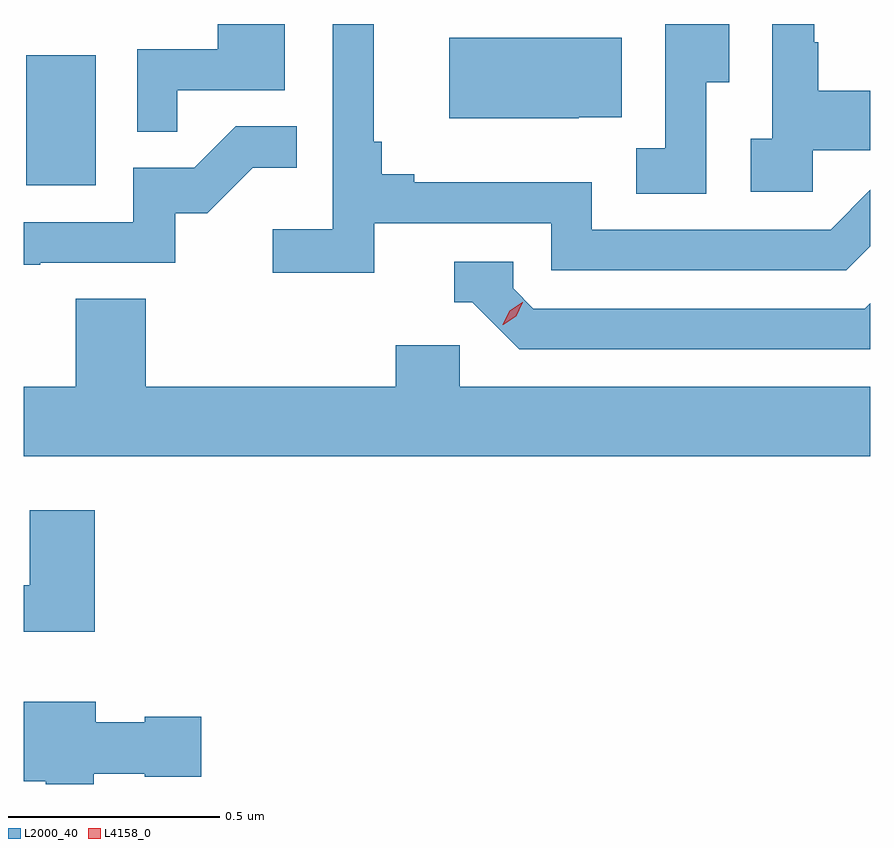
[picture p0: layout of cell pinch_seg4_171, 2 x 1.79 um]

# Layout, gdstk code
import gdstk
lib = gdstk.Library(unit=1e-6, precision=1e-09)
def R(c, l, rs):  # rectangles x0, y0, x1, y1
    for r in rs: c.add(gdstk.rectangle(r[:2], r[2:], *l))
def P(c, l, *ps):  # polygons
    for p in ps: c.add(gdstk.Polygon(p, *l))
L2000_40 = (2000, 40)
L4158_0 = (4158, 0)

pinch_seg4_171 = lib.new_cell('pinch_seg4_171')
R(pinch_seg4_171, L2000_40, [(1115.924,805.452,1116.088,805.759)])
P(pinch_seg4_171, L2000_40, [(1116.746,805.362),(1117.164,805.362),(1117.164,805.251),(1117.861,805.251),(1117.918,805.308),(1117.918,805.441),(1117.824,805.347),(1117.26,805.347),(1117.26,805.459),(1116.841,805.459),(1116.841,805.478),(1116.764,805.478),(1116.764,805.555),(1116.745,805.555),(1116.745,805.833),(1116.648,805.833),(1116.648,805.348),(1116.507,805.348),(1116.507,805.246),(1116.746,805.246)],
  [(1117.782,805.535),(1117.918,805.535),(1117.918,805.675),(1117.795,805.675),(1117.795,805.79),(1117.785,805.79),(1117.785,805.833),(1117.686,805.833),(1117.686,805.562),(1117.635,805.562),(1117.635,805.437),(1117.782,805.437)],
  [(1116.281,805.677),(1116.535,805.677),(1116.535,805.833),(1116.377,805.833),(1116.377,805.773),(1116.186,805.773),(1116.186,805.579),(1116.281,805.579)],
  [(1117.53,805.696),(1117.585,805.696),(1117.585,805.833),(1117.434,805.833),(1117.434,805.539),(1117.365,805.539),(1117.365,805.432),(1117.53,805.432)],
  [(1117.229,805.613),(1117.331,805.613),(1117.331,805.801),(1116.923,805.801),(1116.923,805.61),(1117.229,805.61)],
  [(1115.957,805.269),(1116.276,805.269),(1116.276,805.386),(1116.352,805.386),(1116.459,805.493),(1116.563,805.493),(1116.563,805.592),(1116.419,805.592),(1116.321,805.494),(1116.177,805.494),(1116.177,805.365),(1115.918,805.365),(1115.918,805.264),(1115.957,805.264)],
  [(1117.918,805.174),(1117.905,805.161),(1117.122,805.161),(1117.074,805.209),(1117.074,805.272),(1116.935,805.272),(1116.935,805.176),(1116.978,805.176),(1117.089,805.065),(1117.918,805.065)],
  [(1117.918,804.976),(1116.948,804.976),(1116.948,805.074),(1116.797,805.074),(1116.797,804.976),(1116.206,804.976),(1116.206,805.184),(1116.041,805.184),(1116.041,804.976),(1115.918,804.976),(1115.918,804.812),(1117.918,804.812)],
  [(1116.086,804.685),(1115.933,804.685),(1115.933,804.508),(1115.918,804.508),(1115.918,804.398),(1116.086,804.398)],
  [(1116.084,804.062),(1116.204,804.062),(1116.204,804.055),(1116.337,804.055),(1116.337,804.197),(1116.204,804.197),(1116.204,804.184),(1116.088,804.184),(1116.088,804.232),(1115.918,804.232),(1115.918,804.044),(1115.97,804.044),(1115.97,804.038),(1116.084,804.038)])
P(pinch_seg4_171, L4158_0, [(1117.05,805.123),(1117.05,805.124),(1117.066,805.156),(1117.096,805.176),(1117.097,805.176),(1117.097,805.176),(1117.081,805.143),(1117.051,805.123)])

lib.write_gds('pinch_seg4_171.gds')
